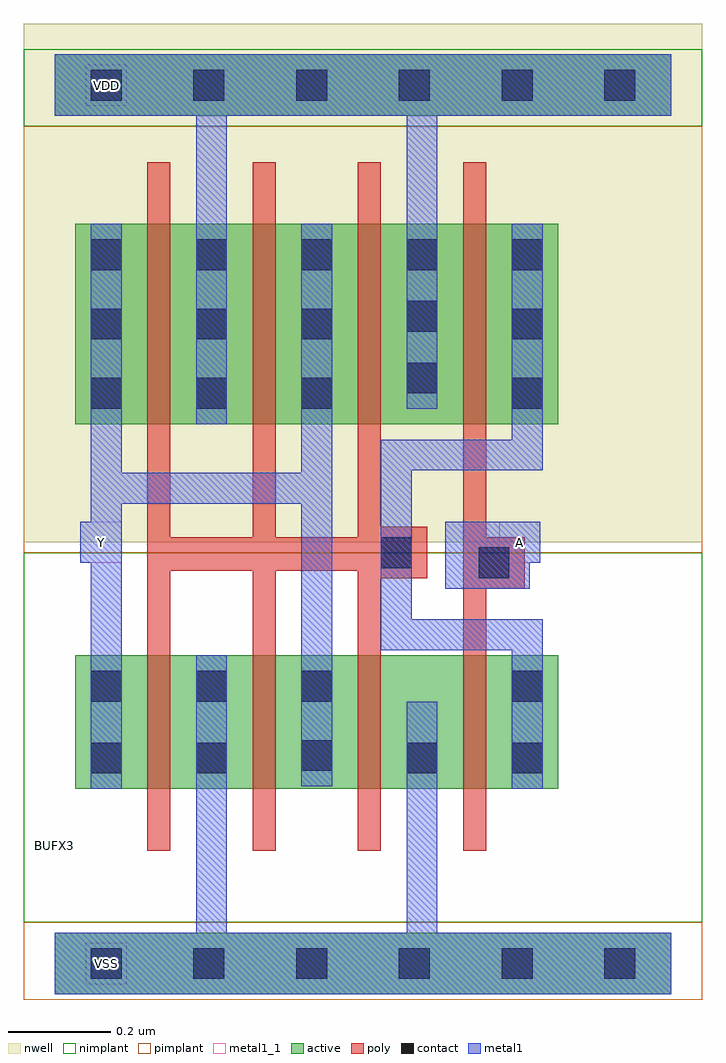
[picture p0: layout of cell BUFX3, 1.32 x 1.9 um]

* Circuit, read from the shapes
.subckt BUFX3 A VDD VSS Y
M1 VSS n1 Y VSS nfet w=0.26u l=0.045u m=3
M2 n1 A VSS VSS nfet w=0.26u l=0.045u
M3 VDD n1 Y VDD pfet w=0.39u l=0.045u m=3
M4 n1 A VDD VDD pfet w=0.39u l=0.045u
.ends

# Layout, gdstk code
import gdstk
lib = gdstk.Library(unit=1e-6, precision=5e-10)
def R(c, l, rs):  # rectangles x0, y0, x1, y1
    for r in rs: c.add(gdstk.rectangle(r[:2], r[2:], *l))
def A(c, l, x, y, w, h, nx, ny, dx, dy):  # array of equal rectangles
    R(c, l, [(x+i*dx, y+j*dy, x+i*dx+w, y+j*dy+h) for i in range(nx) for j in range(ny)])
def P(c, l, *ps):  # polygons
    for p in ps: c.add(gdstk.Polygon(p, *l))
active = (1, 0)
nwell = (2, 0)
poly = (3, 0)
nimplant = (4, 0)
pimplant = (5, 0)
contact = (6, 0)
metal1 = (7, 0)
metal1_1 = (7, 1)

bufx3 = lib.new_cell('BUFX3')
R(bufx3, active, [(0,-0.06,1.2,0.06), (0.04,0.34,0.98,0.6), (0.04,1.05,0.98,1.44), (0,1.65,1.2,1.77)])
R(bufx3, nwell, [(-0.06,0.82,1.26,1.83)])
P(bufx3, poly, [(0.915,0.83),(0.84,0.83),(0.84,1.56),(0.795,1.56),(0.795,0.22),(0.84,0.22),(0.84,0.73),(0.915,0.73)],
  [(0.725,0.85),(0.635,0.85),(0.635,1.56),(0.59,1.56),(0.59,0.83),(0.43,0.83),(0.43,1.56),(0.385,1.56),(0.385,0.83),(0.225,0.83),(0.225,1.56),(0.18,1.56),(0.18,0.22),(0.225,0.22),(0.225,0.765),(0.385,0.765),(0.385,0.22),(0.43,0.22),(0.43,0.765),(0.59,0.765),(0.59,0.22),(0.635,0.22),(0.635,0.75),(0.725,0.75)])
R(bufx3, nimplant, [(-0.06,0.08,1.26,0.8), (-0.06,1.63,1.26,1.78)])
R(bufx3, pimplant, [(-0.06,-0.07,1.26,0.08), (-0.06,0.8,1.26,1.63)])
A(bufx3, contact, 0.07, -0.03, 0.06, 0.06, 6, 2, 0.2, 1.71)
A(bufx3, contact, 0.07, 0.51, 0.06, 0.06, 3, 2, 0.205, 0.57)
A(bufx3, contact, 0.07, 1.215, 0.06, 0.06, 3, 1, 0.205, 0)
A(bufx3, contact, 0.07, 1.35, 0.06, 0.06, 5, 1, 0.205, 0)
R(bufx3, contact, [(0.07,0.37,0.13,0.43), (0.275,0.37,0.335,0.43), (0.685,0.37,0.745,0.43), (0.89,0.37,0.95,0.43), (0.48,0.375,0.54,0.435), (0.89,0.51,0.95,0.57), (0.825,0.75,0.885,0.81), (0.635,0.77,0.695,0.83), (0.89,1.08,0.95,1.14), (0.685,1.11,0.745,1.17), (0.89,1.215,0.95,1.275), (0.685,1.23,0.745,1.29)])
R(bufx3, metal1, [(0.05,0.78,0.13,0.86)])
P(bufx3, metal1, [(0.54,1.44),(0.48,1.44),(0.48,0.955),(0.13,0.955),(0.13,1.44),(0.07,1.44),(0.07,0.34),(0.13,0.34),(0.13,0.895),(0.48,0.895),(0.48,0.345),(0.54,0.345)],
  [(1.2,1.77),(0,1.77),(0,1.65),(0.275,1.65),(0.275,1.05),(0.335,1.05),(0.335,1.65),(0.685,1.65),(0.685,1.08),(0.745,1.08),(0.745,1.65),(1.2,1.65)],
  [(0.945,0.86),(0.76,0.86),(0.76,0.73),(0.925,0.73),(0.925,0.78),(0.945,0.78)],
  [(0.95,0.67),(0.695,0.67),(0.695,0.96),(0.95,0.96),(0.95,1.44),(0.89,1.44),(0.89,1.02),(0.635,1.02),(0.635,0.61),(0.89,0.61),(0.89,0.34),(0.95,0.34)],
  [(1.2,0.06),(0.745,0.06),(0.745,0.51),(0.685,0.51),(0.685,0.06),(0.335,0.06),(0.335,0.6),(0.275,0.6),(0.275,0.06),(0,0.06),(0,-0.06),(1.2,-0.06)])
R(bufx3, metal1_1, [(0.06,-0.04,0.14,0.04), (0.05,0.78,0.13,0.86), (0.865,0.78,0.945,0.86), (0.06,1.67,0.14,1.75)])
bufx3.add(gdstk.Label('A', (0.905,0.82), layer=7, texttype=1))
bufx3.add(gdstk.Label('Y', (0.09,0.82), layer=7, texttype=1))
bufx3.add(gdstk.Label('VDD', (0.1,1.71), layer=7, texttype=1))
bufx3.add(gdstk.Label('VSS', (0.1,0), layer=7, texttype=1))
bufx3.add(gdstk.Label('BUFX3', (0,0.23), layer=63, texttype=0))

lib.write_gds('BUFX3.gds')
